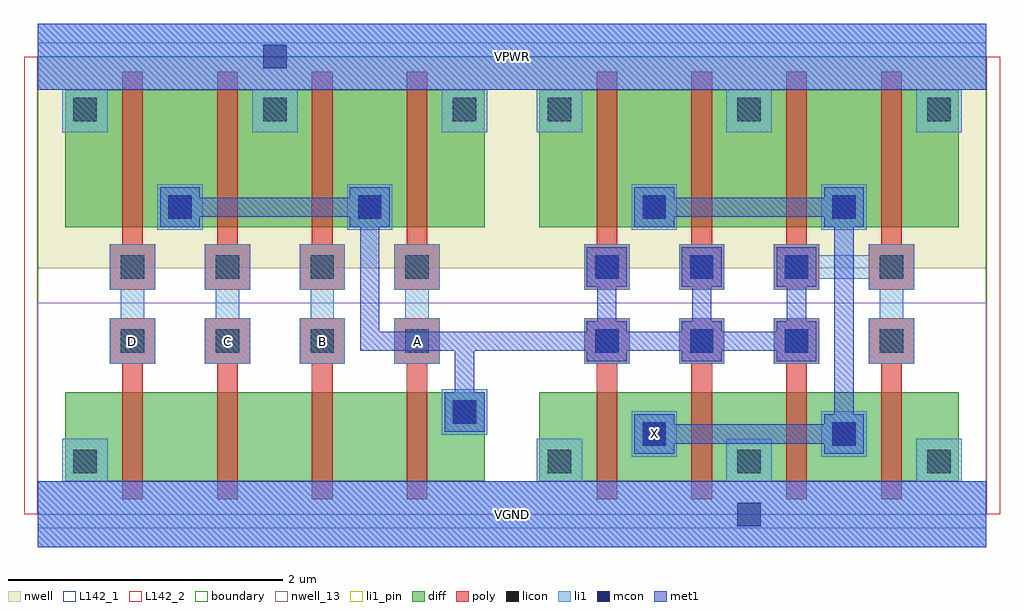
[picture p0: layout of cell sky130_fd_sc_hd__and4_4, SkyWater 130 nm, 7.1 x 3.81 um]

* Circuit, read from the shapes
.subckt sky130_fd_sc_hd__and4_4 A B C D VGND VPWR X
XM1 n1 D VGND VSUBS sky130_fd_pr__nfet_01v8 w=0.65 l=0.15
XM2 n2 C n1 VSUBS sky130_fd_pr__nfet_01v8 w=0.65 l=0.15
XM3 n3 B n2 VSUBS sky130_fd_pr__nfet_01v8 w=0.65 l=0.15
XM4 n4 A n3 VSUBS sky130_fd_pr__nfet_01v8 w=0.65 l=0.15
XM5 X n4 VGND VSUBS sky130_fd_pr__nfet_01v8 w=0.65 l=0.15 m=4
XM6 n4 D VPWR n5 sky130_fd_pr__pfet_01v8 w=1 l=0.15
XM7 VPWR C n4 n5 sky130_fd_pr__pfet_01v8 w=1 l=0.15
XM8 n4 B VPWR n5 sky130_fd_pr__pfet_01v8 w=1 l=0.15
XM9 VPWR A n4 n5 sky130_fd_pr__pfet_01v8 w=1 l=0.15
XM10 X n4 VPWR n5 sky130_fd_pr__pfet_01v8 w=1 l=0.15 m=4
.ends

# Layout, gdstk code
import gdstk
lib = gdstk.Library(unit=1e-6, precision=1e-09)
def R(c, l, rs):  # rectangles x0, y0, x1, y1
    for r in rs: c.add(gdstk.rectangle(r[:2], r[2:], *l))
def A(c, l, x, y, w, h, nx, ny, dx, dy):  # array of equal rectangles
    R(c, l, [(x+i*dx, y+j*dy, x+i*dx+w, y+j*dy+h) for i in range(nx) for j in range(ny)])
def P(c, l, *ps):  # polygons
    for p in ps: c.add(gdstk.Polygon(p, *l))
nwell_13 = (64, 13)
nwell = (64, 20)
diff = (65, 20)
poly = (66, 20)
licon = (66, 44)
li1_pin = (67, 16)
li1 = (67, 20)
mcon = (67, 44)
met1 = (68, 20)
L142_1 = (142, 1)
L142_2 = (142, 2)
boundary = (235, 4)

sky130_fd_sc_hd__and4_4 = lib.new_cell('sky130_fd_sc_hd__and4_4')
R(sky130_fd_sc_hd__and4_4, nwell_13, [(0,0,6.9,1.54)])
R(sky130_fd_sc_hd__and4_4, nwell, [(0,1.79,6.9,3.33)])
A(sky130_fd_sc_hd__and4_4, diff, 0.615, 0.24, 0.69, 0.65, 3, 1, 0.69, 0)
A(sky130_fd_sc_hd__and4_4, diff, 4.065, 0.24, 0.69, 0.65, 3, 1, 0.69, 0)
A(sky130_fd_sc_hd__and4_4, diff, 0.615, 2.09, 0.69, 1, 3, 1, 0.69, 0)
A(sky130_fd_sc_hd__and4_4, diff, 4.065, 2.09, 0.69, 1, 3, 1, 0.69, 0)
R(sky130_fd_sc_hd__and4_4, diff, [(0.2,0.24,3.25,0.89), (0.2,0.24,0.615,0.89), (2.685,0.24,3.25,0.89), (3.65,0.24,6.7,0.89), (3.65,0.24,4.065,0.89), (6.135,0.24,6.7,0.89), (0.2,2.09,3.25,3.09), (0.2,2.09,0.615,3.09), (2.685,2.09,3.25,3.09), (3.65,2.09,6.7,3.09), (3.65,2.09,4.065,3.09), (6.135,2.09,6.7,3.09)])
P(sky130_fd_sc_hd__and4_4, poly, [(1.995,0.11),(1.995,1.095),(1.905,1.095),(1.905,1.425),(2.235,1.425),(2.235,1.095),(2.145,1.095),(2.145,0.11)],
  [(1.905,1.635),(1.905,1.965),(1.995,1.965),(1.995,3.22),(2.145,3.22),(2.145,1.965),(2.235,1.965),(2.235,1.635)],
  [(4.065,0.11),(4.065,1.095),(3.975,1.095),(3.975,1.425),(4.305,1.425),(4.305,1.095),(4.215,1.095),(4.215,0.11)],
  [(4.755,0.11),(4.755,1.095),(4.665,1.095),(4.665,1.425),(4.995,1.425),(4.995,1.095),(4.905,1.095),(4.905,0.11)],
  [(5.445,0.11),(5.445,1.095),(5.355,1.095),(5.355,1.425),(5.685,1.425),(5.685,1.095),(5.595,1.095),(5.595,0.11)],
  [(6.135,0.11),(6.135,1.095),(6.045,1.095),(6.045,1.425),(6.375,1.425),(6.375,1.095),(6.285,1.095),(6.285,0.11)],
  [(3.975,1.635),(3.975,1.965),(4.065,1.965),(4.065,3.22),(4.215,3.22),(4.215,1.965),(4.305,1.965),(4.305,1.635)],
  [(4.665,1.635),(4.665,1.965),(4.755,1.965),(4.755,3.22),(4.905,3.22),(4.905,1.965),(4.995,1.965),(4.995,1.635)],
  [(5.355,1.635),(5.355,1.965),(5.445,1.965),(5.445,3.22),(5.595,3.22),(5.595,1.965),(5.685,1.965),(5.685,1.635)],
  [(6.045,1.635),(6.045,1.965),(6.135,1.965),(6.135,3.22),(6.285,3.22),(6.285,1.965),(6.375,1.965),(6.375,1.635)],
  [(0.615,0.11),(0.615,1.095),(0.525,1.095),(0.525,1.425),(0.855,1.425),(0.855,1.095),(0.765,1.095),(0.765,0.11)],
  [(0.525,1.635),(0.525,1.965),(0.615,1.965),(0.615,3.22),(0.765,3.22),(0.765,1.965),(0.855,1.965),(0.855,1.635)],
  [(1.305,0.11),(1.305,1.095),(1.215,1.095),(1.215,1.425),(1.545,1.425),(1.545,1.095),(1.455,1.095),(1.455,0.11)],
  [(1.215,1.635),(1.215,1.965),(1.305,1.965),(1.305,3.22),(1.455,3.22),(1.455,1.965),(1.545,1.965),(1.545,1.635)],
  [(2.685,0.11),(2.685,1.095),(2.595,1.095),(2.595,1.425),(2.925,1.425),(2.925,1.095),(2.835,1.095),(2.835,0.11)],
  [(2.595,1.635),(2.595,1.965),(2.685,1.965),(2.685,3.22),(2.835,3.22),(2.835,1.965),(2.925,1.965),(2.925,1.635)])
A(sky130_fd_sc_hd__and4_4, licon, 3.71, 0.3, 0.17, 0.17, 3, 2, 1.38, 2.56)
A(sky130_fd_sc_hd__and4_4, licon, 0.605, 1.175, 0.17, 0.17, 4, 2, 0.69, 0.54)
A(sky130_fd_sc_hd__and4_4, licon, 4.055, 1.175, 0.17, 0.17, 4, 2, 0.69, 0.54)
A(sky130_fd_sc_hd__and4_4, licon, 0.26, 2.86, 0.17, 0.17, 3, 1, 1.38, 0)
R(sky130_fd_sc_hd__and4_4, licon, [(0.26,0.3,0.43,0.47), (4.4,0.5,4.57,0.67), (5.78,0.5,5.95,0.67), (3.02,0.66,3.19,0.83), (0.95,2.15,1.12,2.32), (2.33,2.15,2.5,2.32), (4.4,2.15,4.57,2.32), (5.78,2.15,5.95,2.32)])
R(sky130_fd_sc_hd__and4_4, li1_pin, [(0,-0.24,6.9,0.24), (4.32,0.42,4.65,0.75), (0,3.09,6.9,3.57)])
P(sky130_fd_sc_hd__and4_4, li1_pin, [(1.905,1.095),(1.905,1.425),(1.985,1.425),(1.985,1.635),(1.905,1.635),(1.905,1.965),(2.235,1.965),(2.235,1.635),(2.155,1.635),(2.155,1.425),(2.235,1.425),(2.235,1.095)],
  [(0.525,1.095),(0.525,1.425),(0.605,1.425),(0.605,1.635),(0.525,1.635),(0.525,1.965),(0.855,1.965),(0.855,1.635),(0.775,1.635),(0.775,1.425),(0.855,1.425),(0.855,1.095)],
  [(2.595,1.095),(2.595,1.425),(2.675,1.425),(2.675,1.635),(2.595,1.635),(2.595,1.965),(2.925,1.965),(2.925,1.635),(2.845,1.635),(2.845,1.425),(2.925,1.425),(2.925,1.095)],
  [(1.215,1.095),(1.215,1.425),(1.295,1.425),(1.295,1.635),(1.215,1.635),(1.215,1.965),(1.545,1.965),(1.545,1.635),(1.465,1.635),(1.465,1.425),(1.545,1.425),(1.545,1.095)])
A(sky130_fd_sc_hd__and4_4, li1, 3.975, 1.095, 0.33, 0.33, 3, 1, 0.69, 0)
R(sky130_fd_sc_hd__and4_4, li1, [(4.32,0.42,4.65,0.75), (5.7,0.42,6.03,0.75), (2.94,0.58,3.27,0.91), (3.975,1.635,4.305,1.965), (4.665,1.635,4.995,1.965), (0.87,2.07,1.2,2.4), (2.25,2.07,2.58,2.4), (4.32,2.07,4.65,2.4), (5.7,2.07,6.03,2.4)])
P(sky130_fd_sc_hd__and4_4, li1, [(1.905,1.095),(1.905,1.425),(1.985,1.425),(1.985,1.635),(1.905,1.635),(1.905,1.965),(2.235,1.965),(2.235,1.635),(2.155,1.635),(2.155,1.425),(2.235,1.425),(2.235,1.095)],
  [(6.045,1.095),(6.045,1.425),(6.125,1.425),(6.125,1.635),(6.045,1.635),(6.045,1.715),(5.685,1.715),(5.685,1.635),(5.355,1.635),(5.355,1.965),(5.685,1.965),(5.685,1.885),(6.045,1.885),(6.045,1.965),(6.375,1.965),(6.375,1.635),(6.295,1.635),(6.295,1.425),(6.375,1.425),(6.375,1.095)],
  [(0.525,1.095),(0.525,1.425),(0.605,1.425),(0.605,1.635),(0.525,1.635),(0.525,1.965),(0.855,1.965),(0.855,1.635),(0.775,1.635),(0.775,1.425),(0.855,1.425),(0.855,1.095)],
  [(0.18,2.78),(0.18,3.09),(0,3.09),(0,3.57),(6.9,3.57),(6.9,3.09),(6.72,3.09),(6.72,2.78),(6.39,2.78),(6.39,3.09),(5.34,3.09),(5.34,2.78),(5.01,2.78),(5.01,3.09),(3.96,3.09),(3.96,2.78),(3.63,2.78),(3.63,3.09),(3.27,3.09),(3.27,2.78),(2.94,2.78),(2.94,3.09),(1.89,3.09),(1.89,2.78),(1.56,2.78),(1.56,3.09),(0.51,3.09),(0.51,2.78)],
  [(1.215,1.095),(1.215,1.425),(1.295,1.425),(1.295,1.635),(1.215,1.635),(1.215,1.965),(1.545,1.965),(1.545,1.635),(1.465,1.635),(1.465,1.425),(1.545,1.425),(1.545,1.095)],
  [(0,-0.24),(0,0.24),(0.18,0.24),(0.18,0.55),(0.51,0.55),(0.51,0.24),(3.63,0.24),(3.63,0.55),(3.96,0.55),(3.96,0.24),(5.01,0.24),(5.01,0.55),(5.34,0.55),(5.34,0.24),(6.39,0.24),(6.39,0.55),(6.72,0.55),(6.72,0.24),(6.9,0.24),(6.9,-0.24)],
  [(2.595,1.095),(2.595,1.425),(2.675,1.425),(2.675,1.635),(2.595,1.635),(2.595,1.965),(2.925,1.965),(2.925,1.635),(2.845,1.635),(2.845,1.425),(2.925,1.425),(2.925,1.095)])
A(sky130_fd_sc_hd__and4_4, mcon, 4.055, 1.175, 0.17, 0.17, 3, 2, 0.69, 0.54)
R(sky130_fd_sc_hd__and4_4, mcon, [(5.09,-0.085,5.26,0.085), (4.4,0.5,4.57,0.67), (5.78,0.5,5.95,0.67), (3.02,0.66,3.19,0.83), (0.95,2.15,1.12,2.32), (2.33,2.15,2.5,2.32), (4.4,2.15,4.57,2.32), (5.78,2.15,5.95,2.32), (1.64,3.245,1.81,3.415)])
R(sky130_fd_sc_hd__and4_4, met1, [(0,-0.24,6.9,0.24), (0,3.09,6.9,3.57)])
P(sky130_fd_sc_hd__and4_4, met1, [(2.96,0.6),(2.96,0.89),(3.035,0.89),(3.035,1.19),(2.345,1.19),(2.345,2.09),(2.27,2.09),(2.27,2.165),(1.18,2.165),(1.18,2.09),(0.89,2.09),(0.89,2.38),(1.18,2.38),(1.18,2.305),(2.27,2.305),(2.27,2.38),(2.56,2.38),(2.56,2.09),(2.485,2.09),(2.485,1.33),(3.995,1.33),(3.995,1.405),(4.07,1.405),(4.07,1.655),(3.995,1.655),(3.995,1.945),(4.285,1.945),(4.285,1.655),(4.21,1.655),(4.21,1.405),(4.285,1.405),(4.285,1.33),(4.685,1.33),(4.685,1.405),(4.76,1.405),(4.76,1.655),(4.685,1.655),(4.685,1.945),(4.975,1.945),(4.975,1.655),(4.9,1.655),(4.9,1.405),(4.975,1.405),(4.975,1.33),(5.375,1.33),(5.375,1.405),(5.45,1.405),(5.45,1.655),(5.375,1.655),(5.375,1.945),(5.665,1.945),(5.665,1.655),(5.59,1.655),(5.59,1.405),(5.665,1.405),(5.665,1.115),(5.375,1.115),(5.375,1.19),(4.975,1.19),(4.975,1.115),(4.685,1.115),(4.685,1.19),(4.285,1.19),(4.285,1.115),(3.995,1.115),(3.995,1.19),(3.175,1.19),(3.175,0.89),(3.25,0.89),(3.25,0.6)],
  [(4.34,0.44),(4.34,0.73),(4.63,0.73),(4.63,0.655),(5.72,0.655),(5.72,0.73),(5.795,0.73),(5.795,2.09),(5.72,2.09),(5.72,2.165),(4.63,2.165),(4.63,2.09),(4.34,2.09),(4.34,2.38),(4.63,2.38),(4.63,2.305),(5.72,2.305),(5.72,2.38),(6.01,2.38),(6.01,2.09),(5.935,2.09),(5.935,0.73),(6.01,0.73),(6.01,0.44),(5.72,0.44),(5.72,0.515),(4.63,0.515),(4.63,0.44)])
R(sky130_fd_sc_hd__and4_4, L142_1, [(0,-0.1,6.9,0), (0,3.33,6.9,3.43)])
R(sky130_fd_sc_hd__and4_4, L142_2, [(-0.1,0,0,3.33), (6.9,0,7,3.33)])
R(sky130_fd_sc_hd__and4_4, boundary, [(0,0,6.9,3.33)])
sky130_fd_sc_hd__and4_4.add(gdstk.Label('X', (4.485,0.585), layer=67, texttype=5))
sky130_fd_sc_hd__and4_4.add(gdstk.Label('B', (2.07,1.26), layer=67, texttype=5))
sky130_fd_sc_hd__and4_4.add(gdstk.Label('D', (0.69,1.26), layer=67, texttype=5))
sky130_fd_sc_hd__and4_4.add(gdstk.Label('A', (2.76,1.26), layer=67, texttype=5))
sky130_fd_sc_hd__and4_4.add(gdstk.Label('C', (1.38,1.26), layer=67, texttype=5))
sky130_fd_sc_hd__and4_4.add(gdstk.Label('VGND', (3.45,0), layer=67, texttype=5))
sky130_fd_sc_hd__and4_4.add(gdstk.Label('VPWR', (3.45,3.33), layer=67, texttype=5))
sky130_fd_sc_hd__and4_4.add(gdstk.Label('VGND', (3.45,0), layer=68, texttype=5))
sky130_fd_sc_hd__and4_4.add(gdstk.Label('VPWR', (3.45,3.33), layer=68, texttype=5))

lib.write_gds('sky130_fd_sc_hd__and4_4.gds')
